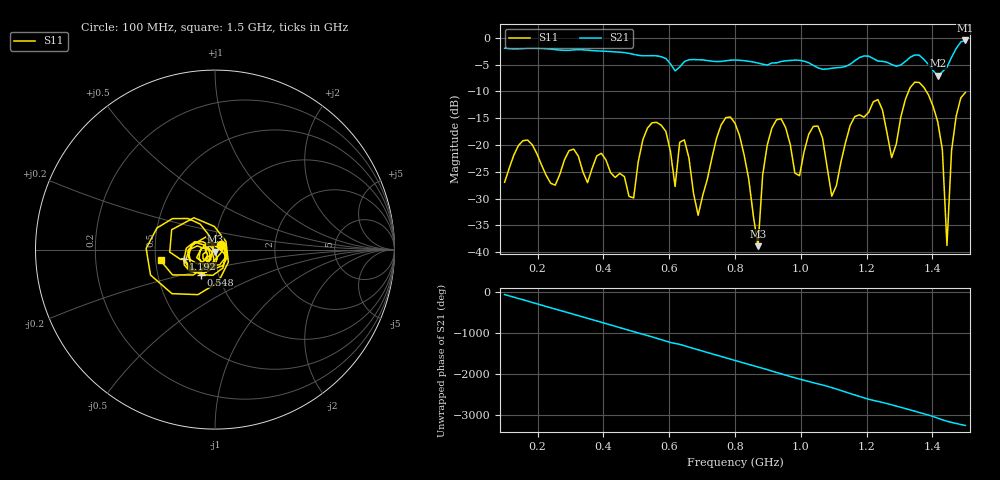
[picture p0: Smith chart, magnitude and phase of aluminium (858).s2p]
! NanoVNA-App
! Date: 2025-09-25 15:01:58
! Start: 100MHz Stop: 1,5GHz Points: 101
! S-Parameter data: F S11 S21 S12 S22
# Hz S RI R 50
!  Frequency  S11_Real  S11_Imag  S21_Real  S21_Imag  S12_Real  S12_Imag  S22_Real  S22_Imag
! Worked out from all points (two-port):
!   101 points, 100 MHz to 1.5 GHz, reference 50 ohm
!   highest |S21| = -0.47 dB at 1.5 GHz (marker M1); lowest = -7.1 dB at 1.416 GHz (marker M2)
!   |S21| within 3 dB of the highest: start of sweep to 572.7 MHz; 1.459 GHz to end of sweep (the widest 2 of 4)
!   lowest |S11| = -38.9 dB at 870 MHz (marker M3), VSWR 1.02, Z = 50 - j1.13 ohm
!   |S11| at or under -10 dB: start of sweep to 1.327 GHz; 1.381 GHz to end of sweep
!   S12 and S22 are empty: the file has one direction only
!   S11 on the Smith chart (normalised r, x): 100 MHz: 1.07, +0.06; 548 MHz: 0.82, -0.24; 1.192 GHz: 0.70, -0.07; 1.5 GHz: 0.53, -0.07
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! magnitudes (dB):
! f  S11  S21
! 100 MHz  -27.0  -1.9
! 156 MHz  -19.2  -2.0
! 338 MHz  -25.0  -2.2
! 492 MHz  -29.9  -3.1
! 548 MHz  -15.8  -3.3
! 576 MHz  -16.3  -3.5
! 618 MHz  -27.7  -6.1
! 646 MHz  -19.0  -4.4
! 688 MHz  -33.1  -4.1
! 800 MHz  -15.9  -4.1
! 870 MHz  -38.9  -4.7
! 912 MHz  -16.8  -4.7
! 996 MHz  -25.7  -4.2
! 1.038 GHz  -16.5  -5.1
! 1.094 GHz  -29.6  -5.7
! 1.192 GHz  -14.8  -3.4
! 1.276 GHz  -22.4  -5.0
! 1.346 GHz  -8.3  -3.2
! 1.416 GHz  -15.7  -7.1
! 1.444 GHz  -38.8  -5.5
! 1.458 GHz  -21.0  -3.6
! 1.5 GHz  -10.2  -0.5
